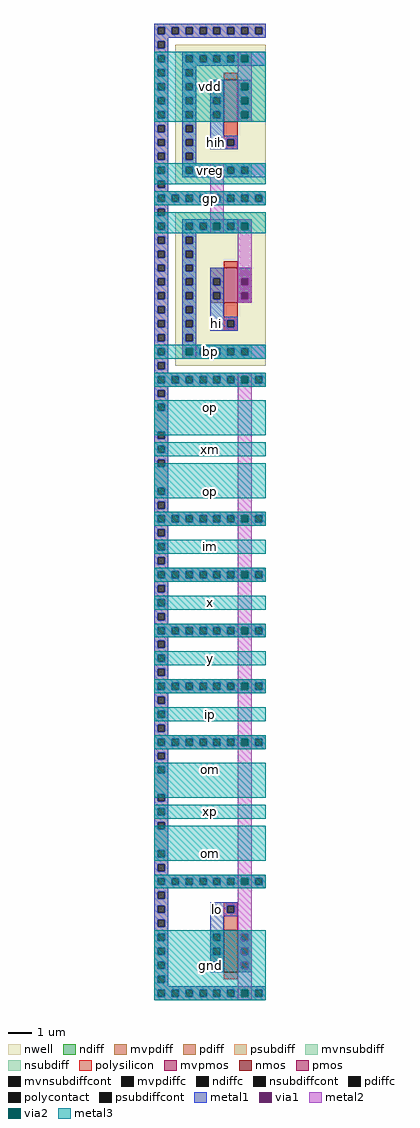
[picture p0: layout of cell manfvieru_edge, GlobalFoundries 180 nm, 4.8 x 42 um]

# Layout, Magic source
magic
tech gf180mcuC
<< nwell >>
rect -738 570 -660 690
rect -738 414 -660 546
<< nmos >>
rect -696 -108 -684 -72
<< pmos >>
rect -696 468 -684 498
<< mvpmos >>
rect -696 624 -684 660
<< ndiff >>
rect -708 -75 -696 -72
rect -708 -81 -705 -75
rect -699 -81 -696 -75
rect -708 -87 -696 -81
rect -708 -93 -705 -87
rect -699 -93 -696 -87
rect -708 -99 -696 -93
rect -708 -105 -705 -99
rect -699 -105 -696 -99
rect -708 -108 -696 -105
rect -684 -75 -672 -72
rect -684 -81 -681 -75
rect -675 -81 -672 -75
rect -684 -87 -672 -81
rect -684 -93 -681 -87
rect -675 -93 -672 -87
rect -684 -99 -672 -93
rect -684 -105 -681 -99
rect -675 -105 -672 -99
rect -684 -108 -672 -105
<< pdiff >>
rect -708 489 -696 498
rect -708 483 -705 489
rect -699 483 -696 489
rect -708 477 -696 483
rect -708 471 -705 477
rect -699 471 -696 477
rect -708 468 -696 471
rect -684 489 -672 498
rect -684 483 -681 489
rect -675 483 -672 489
rect -684 477 -672 483
rect -684 471 -681 477
rect -675 471 -672 477
rect -684 468 -672 471
<< mvpdiff >>
rect -708 657 -696 660
rect -708 651 -705 657
rect -699 651 -696 657
rect -708 645 -696 651
rect -708 639 -705 645
rect -699 639 -696 645
rect -708 633 -696 639
rect -708 627 -705 633
rect -699 627 -696 633
rect -708 624 -696 627
rect -684 657 -672 660
rect -684 651 -681 657
rect -675 651 -672 657
rect -684 645 -672 651
rect -684 639 -681 645
rect -675 639 -672 645
rect -684 633 -672 639
rect -684 627 -681 633
rect -675 627 -672 633
rect -684 624 -672 627
<< ndiffc >>
rect -705 -81 -699 -75
rect -705 -93 -699 -87
rect -705 -105 -699 -99
rect -681 -81 -675 -75
rect -681 -93 -675 -87
rect -681 -105 -675 -99
<< pdiffc >>
rect -705 483 -699 489
rect -705 471 -699 477
rect -681 483 -675 489
rect -681 471 -675 477
<< mvpdiffc >>
rect -705 651 -699 657
rect -705 639 -699 645
rect -705 627 -699 633
rect -681 651 -675 657
rect -681 639 -675 645
rect -681 627 -675 633
<< psubdiff >>
rect -756 705 -660 708
rect -756 699 -753 705
rect -747 699 -741 705
rect -735 699 -729 705
rect -723 699 -717 705
rect -711 699 -705 705
rect -699 699 -693 705
rect -687 699 -681 705
rect -675 699 -669 705
rect -663 699 -660 705
rect -756 696 -660 699
rect -756 693 -744 696
rect -756 687 -753 693
rect -747 687 -744 693
rect -756 681 -744 687
rect -756 675 -753 681
rect -747 675 -744 681
rect -756 669 -744 675
rect -756 663 -753 669
rect -747 663 -744 669
rect -756 657 -744 663
rect -756 651 -753 657
rect -747 651 -744 657
rect -756 645 -744 651
rect -756 639 -753 645
rect -747 639 -744 645
rect -756 633 -744 639
rect -756 627 -753 633
rect -747 627 -744 633
rect -756 621 -744 627
rect -756 615 -753 621
rect -747 615 -744 621
rect -756 609 -744 615
rect -756 603 -753 609
rect -747 603 -744 609
rect -756 597 -744 603
rect -756 591 -753 597
rect -747 591 -744 597
rect -756 585 -744 591
rect -756 579 -753 585
rect -747 579 -744 585
rect -756 573 -744 579
rect -756 567 -753 573
rect -747 567 -744 573
rect -756 564 -744 567
rect -756 561 -660 564
rect -756 555 -753 561
rect -747 555 -741 561
rect -735 555 -729 561
rect -723 555 -717 561
rect -711 555 -705 561
rect -699 555 -693 561
rect -687 555 -681 561
rect -675 555 -669 561
rect -663 555 -660 561
rect -756 552 -660 555
rect -756 549 -744 552
rect -756 543 -753 549
rect -747 543 -744 549
rect -756 537 -744 543
rect -756 531 -753 537
rect -747 531 -744 537
rect -756 525 -744 531
rect -756 519 -753 525
rect -747 519 -744 525
rect -756 513 -744 519
rect -756 507 -753 513
rect -747 507 -744 513
rect -756 501 -744 507
rect -756 495 -753 501
rect -747 495 -744 501
rect -756 489 -744 495
rect -756 483 -753 489
rect -747 483 -744 489
rect -756 477 -744 483
rect -756 471 -753 477
rect -747 471 -744 477
rect -756 465 -744 471
rect -756 459 -753 465
rect -747 459 -744 465
rect -756 453 -744 459
rect -756 447 -753 453
rect -747 447 -744 453
rect -756 441 -744 447
rect -756 435 -753 441
rect -747 435 -744 441
rect -756 429 -744 435
rect -756 423 -753 429
rect -747 423 -744 429
rect -756 417 -744 423
rect -756 411 -753 417
rect -747 411 -744 417
rect -756 408 -744 411
rect -756 405 -660 408
rect -756 399 -753 405
rect -747 399 -741 405
rect -735 399 -729 405
rect -723 399 -717 405
rect -711 399 -705 405
rect -699 399 -693 405
rect -687 399 -681 405
rect -675 399 -669 405
rect -663 399 -660 405
rect -756 396 -660 399
rect -756 393 -744 396
rect -756 387 -753 393
rect -747 387 -744 393
rect -756 381 -744 387
rect -756 375 -753 381
rect -747 375 -744 381
rect -756 357 -744 375
rect -756 351 -753 357
rect -747 351 -744 357
rect -756 345 -744 351
rect -756 339 -753 345
rect -747 339 -744 345
rect -756 333 -744 339
rect -756 327 -753 333
rect -747 327 -744 333
rect -756 309 -744 327
rect -756 303 -753 309
rect -747 303 -744 309
rect -756 297 -744 303
rect -756 291 -753 297
rect -747 291 -744 297
rect -756 288 -744 291
rect -756 285 -660 288
rect -756 279 -753 285
rect -747 279 -741 285
rect -735 279 -729 285
rect -723 279 -717 285
rect -711 279 -705 285
rect -699 279 -693 285
rect -687 279 -681 285
rect -675 279 -669 285
rect -663 279 -660 285
rect -756 276 -660 279
rect -756 273 -744 276
rect -756 267 -753 273
rect -747 267 -744 273
rect -756 261 -744 267
rect -756 255 -753 261
rect -747 255 -744 261
rect -756 249 -744 255
rect -756 243 -753 249
rect -747 243 -744 249
rect -756 240 -744 243
rect -756 237 -660 240
rect -756 231 -753 237
rect -747 231 -741 237
rect -735 231 -729 237
rect -723 231 -717 237
rect -711 231 -705 237
rect -699 231 -693 237
rect -687 231 -681 237
rect -675 231 -669 237
rect -663 231 -660 237
rect -756 228 -660 231
rect -756 225 -744 228
rect -756 219 -753 225
rect -747 219 -744 225
rect -756 213 -744 219
rect -756 207 -753 213
rect -747 207 -744 213
rect -756 201 -744 207
rect -756 195 -753 201
rect -747 195 -744 201
rect -756 192 -744 195
rect -756 189 -660 192
rect -756 183 -753 189
rect -747 183 -741 189
rect -735 183 -729 189
rect -723 183 -717 189
rect -711 183 -705 189
rect -699 183 -693 189
rect -687 183 -681 189
rect -675 183 -669 189
rect -663 183 -660 189
rect -756 180 -660 183
rect -756 177 -744 180
rect -756 171 -753 177
rect -747 171 -744 177
rect -756 165 -744 171
rect -756 159 -753 165
rect -747 159 -744 165
rect -756 153 -744 159
rect -756 147 -753 153
rect -747 147 -744 153
rect -756 144 -744 147
rect -756 141 -660 144
rect -756 135 -753 141
rect -747 135 -741 141
rect -735 135 -729 141
rect -723 135 -717 141
rect -711 135 -705 141
rect -699 135 -693 141
rect -687 135 -681 141
rect -675 135 -669 141
rect -663 135 -660 141
rect -756 132 -660 135
rect -756 129 -744 132
rect -756 123 -753 129
rect -747 123 -744 129
rect -756 117 -744 123
rect -756 111 -753 117
rect -747 111 -744 117
rect -756 105 -744 111
rect -756 99 -753 105
rect -747 99 -744 105
rect -756 96 -744 99
rect -756 93 -660 96
rect -756 87 -753 93
rect -747 87 -741 93
rect -735 87 -729 93
rect -723 87 -717 93
rect -711 87 -705 93
rect -699 87 -693 93
rect -687 87 -681 93
rect -675 87 -669 93
rect -663 87 -660 93
rect -756 84 -660 87
rect -756 81 -744 84
rect -756 75 -753 81
rect -747 75 -744 81
rect -756 69 -744 75
rect -756 63 -753 69
rect -747 63 -744 69
rect -756 45 -744 63
rect -756 39 -753 45
rect -747 39 -744 45
rect -756 33 -744 39
rect -756 27 -753 33
rect -747 27 -744 33
rect -756 21 -744 27
rect -756 15 -753 21
rect -747 15 -744 21
rect -756 -3 -744 15
rect -756 -9 -753 -3
rect -747 -9 -744 -3
rect -756 -15 -744 -9
rect -756 -21 -753 -15
rect -747 -21 -744 -15
rect -756 -24 -744 -21
rect -756 -27 -660 -24
rect -756 -33 -753 -27
rect -747 -33 -741 -27
rect -735 -33 -729 -27
rect -723 -33 -717 -27
rect -711 -33 -705 -27
rect -699 -33 -693 -27
rect -687 -33 -681 -27
rect -675 -33 -669 -27
rect -663 -33 -660 -27
rect -756 -36 -660 -33
rect -756 -39 -744 -36
rect -756 -45 -753 -39
rect -747 -45 -744 -39
rect -756 -51 -744 -45
rect -756 -57 -753 -51
rect -747 -57 -744 -51
rect -756 -63 -744 -57
rect -756 -69 -753 -63
rect -747 -69 -744 -63
rect -756 -75 -744 -69
rect -756 -81 -753 -75
rect -747 -81 -744 -75
rect -756 -87 -744 -81
rect -756 -93 -753 -87
rect -747 -93 -744 -87
rect -756 -99 -744 -93
rect -756 -105 -753 -99
rect -747 -105 -744 -99
rect -756 -111 -744 -105
rect -756 -117 -753 -111
rect -747 -117 -744 -111
rect -756 -120 -744 -117
rect -756 -123 -660 -120
rect -756 -129 -753 -123
rect -747 -129 -741 -123
rect -735 -129 -729 -123
rect -723 -129 -717 -123
rect -711 -129 -705 -123
rect -699 -129 -693 -123
rect -687 -129 -681 -123
rect -675 -129 -669 -123
rect -663 -129 -660 -123
rect -756 -132 -660 -129
<< nsubdiff >>
rect -732 537 -672 540
rect -732 531 -729 537
rect -723 531 -717 537
rect -711 531 -705 537
rect -699 531 -693 537
rect -687 531 -681 537
rect -675 531 -672 537
rect -732 528 -672 531
rect -732 525 -720 528
rect -732 519 -729 525
rect -723 519 -720 525
rect -732 513 -720 519
rect -732 507 -729 513
rect -723 507 -720 513
rect -732 501 -720 507
rect -732 495 -729 501
rect -723 495 -720 501
rect -732 489 -720 495
rect -732 483 -729 489
rect -723 483 -720 489
rect -732 477 -720 483
rect -732 471 -729 477
rect -723 471 -720 477
rect -732 465 -720 471
rect -732 459 -729 465
rect -723 459 -720 465
rect -732 453 -720 459
rect -732 447 -729 453
rect -723 447 -720 453
rect -732 441 -720 447
rect -732 435 -729 441
rect -723 435 -720 441
rect -732 432 -720 435
rect -732 429 -672 432
rect -732 423 -729 429
rect -723 423 -717 429
rect -711 423 -705 429
rect -699 423 -693 429
rect -687 423 -681 429
rect -675 423 -672 429
rect -732 420 -672 423
<< mvnsubdiff >>
rect -732 681 -672 684
rect -732 675 -729 681
rect -723 675 -717 681
rect -711 675 -705 681
rect -699 675 -693 681
rect -687 675 -681 681
rect -675 675 -672 681
rect -732 672 -672 675
rect -732 669 -720 672
rect -732 663 -729 669
rect -723 663 -720 669
rect -732 657 -720 663
rect -732 651 -729 657
rect -723 651 -720 657
rect -732 645 -720 651
rect -732 639 -729 645
rect -723 639 -720 645
rect -732 633 -720 639
rect -732 627 -729 633
rect -723 627 -720 633
rect -732 621 -720 627
rect -732 615 -729 621
rect -723 615 -720 621
rect -732 609 -720 615
rect -732 603 -729 609
rect -723 603 -720 609
rect -732 597 -720 603
rect -732 591 -729 597
rect -723 591 -720 597
rect -732 588 -720 591
rect -732 585 -672 588
rect -732 579 -729 585
rect -723 579 -717 585
rect -711 579 -705 585
rect -699 579 -693 585
rect -687 579 -681 585
rect -675 579 -672 585
rect -732 576 -672 579
<< psubdiffcont >>
rect -753 699 -747 705
rect -741 699 -735 705
rect -729 699 -723 705
rect -717 699 -711 705
rect -705 699 -699 705
rect -693 699 -687 705
rect -681 699 -675 705
rect -669 699 -663 705
rect -753 687 -747 693
rect -753 675 -747 681
rect -753 663 -747 669
rect -753 651 -747 657
rect -753 639 -747 645
rect -753 627 -747 633
rect -753 615 -747 621
rect -753 603 -747 609
rect -753 591 -747 597
rect -753 579 -747 585
rect -753 567 -747 573
rect -753 555 -747 561
rect -741 555 -735 561
rect -729 555 -723 561
rect -717 555 -711 561
rect -705 555 -699 561
rect -693 555 -687 561
rect -681 555 -675 561
rect -669 555 -663 561
rect -753 543 -747 549
rect -753 531 -747 537
rect -753 519 -747 525
rect -753 507 -747 513
rect -753 495 -747 501
rect -753 483 -747 489
rect -753 471 -747 477
rect -753 459 -747 465
rect -753 447 -747 453
rect -753 435 -747 441
rect -753 423 -747 429
rect -753 411 -747 417
rect -753 399 -747 405
rect -741 399 -735 405
rect -729 399 -723 405
rect -717 399 -711 405
rect -705 399 -699 405
rect -693 399 -687 405
rect -681 399 -675 405
rect -669 399 -663 405
rect -753 387 -747 393
rect -753 375 -747 381
rect -753 351 -747 357
rect -753 339 -747 345
rect -753 327 -747 333
rect -753 303 -747 309
rect -753 291 -747 297
rect -753 279 -747 285
rect -741 279 -735 285
rect -729 279 -723 285
rect -717 279 -711 285
rect -705 279 -699 285
rect -693 279 -687 285
rect -681 279 -675 285
rect -669 279 -663 285
rect -753 267 -747 273
rect -753 255 -747 261
rect -753 243 -747 249
rect -753 231 -747 237
rect -741 231 -735 237
rect -729 231 -723 237
rect -717 231 -711 237
rect -705 231 -699 237
rect -693 231 -687 237
rect -681 231 -675 237
rect -669 231 -663 237
rect -753 219 -747 225
rect -753 207 -747 213
rect -753 195 -747 201
rect -753 183 -747 189
rect -741 183 -735 189
rect -729 183 -723 189
rect -717 183 -711 189
rect -705 183 -699 189
rect -693 183 -687 189
rect -681 183 -675 189
rect -669 183 -663 189
rect -753 171 -747 177
rect -753 159 -747 165
rect -753 147 -747 153
rect -753 135 -747 141
rect -741 135 -735 141
rect -729 135 -723 141
rect -717 135 -711 141
rect -705 135 -699 141
rect -693 135 -687 141
rect -681 135 -675 141
rect -669 135 -663 141
rect -753 123 -747 129
rect -753 111 -747 117
rect -753 99 -747 105
rect -753 87 -747 93
rect -741 87 -735 93
rect -729 87 -723 93
rect -717 87 -711 93
rect -705 87 -699 93
rect -693 87 -687 93
rect -681 87 -675 93
rect -669 87 -663 93
rect -753 75 -747 81
rect -753 63 -747 69
rect -753 39 -747 45
rect -753 27 -747 33
rect -753 15 -747 21
rect -753 -9 -747 -3
rect -753 -21 -747 -15
rect -753 -33 -747 -27
rect -741 -33 -735 -27
rect -729 -33 -723 -27
rect -717 -33 -711 -27
rect -705 -33 -699 -27
rect -693 -33 -687 -27
rect -681 -33 -675 -27
rect -669 -33 -663 -27
rect -753 -45 -747 -39
rect -753 -57 -747 -51
rect -753 -69 -747 -63
rect -753 -81 -747 -75
rect -753 -93 -747 -87
rect -753 -105 -747 -99
rect -753 -117 -747 -111
rect -753 -129 -747 -123
rect -741 -129 -735 -123
rect -729 -129 -723 -123
rect -717 -129 -711 -123
rect -705 -129 -699 -123
rect -693 -129 -687 -123
rect -681 -129 -675 -123
rect -669 -129 -663 -123
<< nsubdiffcont >>
rect -729 531 -723 537
rect -717 531 -711 537
rect -705 531 -699 537
rect -693 531 -687 537
rect -681 531 -675 537
rect -729 519 -723 525
rect -729 507 -723 513
rect -729 495 -723 501
rect -729 483 -723 489
rect -729 471 -723 477
rect -729 459 -723 465
rect -729 447 -723 453
rect -729 435 -723 441
rect -729 423 -723 429
rect -717 423 -711 429
rect -705 423 -699 429
rect -693 423 -687 429
rect -681 423 -675 429
<< mvnsubdiffcont >>
rect -729 675 -723 681
rect -717 675 -711 681
rect -705 675 -699 681
rect -693 675 -687 681
rect -681 675 -675 681
rect -729 663 -723 669
rect -729 651 -723 657
rect -729 639 -723 645
rect -729 627 -723 633
rect -729 615 -723 621
rect -729 603 -723 609
rect -729 591 -723 597
rect -729 579 -723 585
rect -717 579 -711 585
rect -705 579 -699 585
rect -693 579 -687 585
rect -681 579 -675 585
<< polysilicon >>
rect -696 660 -684 666
rect -696 609 -684 624
rect -696 603 -693 609
rect -687 603 -684 609
rect -696 600 -684 603
rect -696 498 -684 504
rect -696 453 -684 468
rect -696 447 -693 453
rect -687 447 -684 453
rect -696 444 -684 447
rect -696 -51 -684 -48
rect -696 -57 -693 -51
rect -687 -57 -684 -51
rect -696 -72 -684 -57
rect -696 -114 -684 -108
<< polycontact >>
rect -693 603 -687 609
rect -693 447 -687 453
rect -693 -57 -687 -51
<< metal1 >>
rect -756 705 -660 708
rect -756 699 -753 705
rect -747 699 -741 705
rect -735 699 -729 705
rect -723 699 -717 705
rect -711 699 -705 705
rect -699 699 -693 705
rect -687 699 -681 705
rect -675 699 -669 705
rect -663 699 -660 705
rect -756 696 -660 699
rect -756 693 -744 696
rect -756 687 -753 693
rect -747 687 -744 693
rect -756 681 -744 687
rect -756 675 -753 681
rect -747 675 -744 681
rect -756 669 -744 675
rect -756 663 -753 669
rect -747 663 -744 669
rect -756 657 -744 663
rect -756 651 -753 657
rect -747 651 -744 657
rect -756 645 -744 651
rect -756 639 -753 645
rect -747 639 -744 645
rect -756 633 -744 639
rect -756 627 -753 633
rect -747 627 -744 633
rect -756 621 -744 627
rect -756 615 -753 621
rect -747 615 -744 621
rect -756 609 -744 615
rect -756 603 -753 609
rect -747 603 -744 609
rect -756 597 -744 603
rect -756 591 -753 597
rect -747 591 -744 597
rect -756 585 -744 591
rect -756 579 -753 585
rect -747 579 -744 585
rect -756 573 -744 579
rect -732 681 -660 684
rect -732 675 -729 681
rect -723 675 -717 681
rect -711 675 -705 681
rect -699 675 -693 681
rect -687 675 -681 681
rect -675 675 -660 681
rect -732 672 -660 675
rect -732 669 -720 672
rect -732 663 -729 669
rect -723 663 -720 669
rect -732 657 -720 663
rect -732 651 -729 657
rect -723 651 -720 657
rect -732 645 -720 651
rect -732 639 -729 645
rect -723 639 -720 645
rect -732 633 -720 639
rect -732 627 -729 633
rect -723 627 -720 633
rect -732 621 -720 627
rect -732 615 -729 621
rect -723 615 -720 621
rect -732 609 -720 615
rect -732 603 -729 609
rect -723 603 -720 609
rect -732 597 -720 603
rect -708 657 -696 660
rect -708 651 -705 657
rect -699 651 -696 657
rect -708 645 -696 651
rect -708 639 -705 645
rect -699 639 -696 645
rect -708 633 -696 639
rect -708 627 -705 633
rect -699 627 -696 633
rect -708 612 -696 627
rect -684 657 -672 660
rect -684 651 -681 657
rect -675 651 -672 657
rect -684 645 -672 651
rect -684 639 -681 645
rect -675 639 -672 645
rect -684 633 -672 639
rect -684 627 -681 633
rect -675 627 -672 633
rect -684 624 -672 627
rect -708 609 -684 612
rect -708 603 -693 609
rect -687 603 -684 609
rect -708 600 -684 603
rect -732 591 -729 597
rect -723 591 -720 597
rect -732 588 -720 591
rect -732 585 -660 588
rect -732 579 -729 585
rect -723 579 -717 585
rect -711 579 -705 585
rect -699 579 -693 585
rect -687 579 -681 585
rect -675 579 -660 585
rect -732 576 -660 579
rect -756 567 -753 573
rect -747 567 -744 573
rect -756 564 -744 567
rect -756 561 -660 564
rect -756 555 -753 561
rect -747 555 -741 561
rect -735 555 -729 561
rect -723 555 -717 561
rect -711 555 -705 561
rect -699 555 -693 561
rect -687 555 -681 561
rect -675 555 -669 561
rect -663 555 -660 561
rect -756 552 -660 555
rect -756 549 -744 552
rect -756 543 -753 549
rect -747 543 -744 549
rect -756 537 -744 543
rect -756 531 -753 537
rect -747 531 -744 537
rect -756 525 -744 531
rect -756 519 -753 525
rect -747 519 -744 525
rect -756 513 -744 519
rect -756 507 -753 513
rect -747 507 -744 513
rect -756 501 -744 507
rect -756 495 -753 501
rect -747 495 -744 501
rect -756 489 -744 495
rect -756 483 -753 489
rect -747 483 -744 489
rect -756 477 -744 483
rect -756 471 -753 477
rect -747 471 -744 477
rect -756 465 -744 471
rect -756 459 -753 465
rect -747 459 -744 465
rect -756 453 -744 459
rect -756 447 -753 453
rect -747 447 -744 453
rect -756 441 -744 447
rect -756 435 -753 441
rect -747 435 -744 441
rect -756 429 -744 435
rect -756 423 -753 429
rect -747 423 -744 429
rect -756 417 -744 423
rect -732 537 -672 540
rect -732 531 -729 537
rect -723 531 -717 537
rect -711 531 -705 537
rect -699 531 -693 537
rect -687 531 -681 537
rect -675 531 -672 537
rect -732 528 -672 531
rect -732 525 -720 528
rect -732 519 -729 525
rect -723 519 -720 525
rect -732 513 -720 519
rect -732 507 -729 513
rect -723 507 -720 513
rect -732 501 -720 507
rect -732 495 -729 501
rect -723 495 -720 501
rect -732 489 -720 495
rect -732 483 -729 489
rect -723 483 -720 489
rect -732 477 -720 483
rect -732 471 -729 477
rect -723 471 -720 477
rect -732 465 -720 471
rect -732 459 -729 465
rect -723 459 -720 465
rect -732 453 -720 459
rect -732 447 -729 453
rect -723 447 -720 453
rect -732 441 -720 447
rect -708 489 -696 498
rect -708 483 -705 489
rect -699 483 -696 489
rect -708 477 -696 483
rect -708 471 -705 477
rect -699 471 -696 477
rect -708 456 -696 471
rect -684 489 -672 498
rect -684 483 -681 489
rect -675 483 -672 489
rect -684 477 -672 483
rect -684 471 -681 477
rect -675 471 -672 477
rect -684 468 -672 471
rect -708 453 -684 456
rect -708 447 -693 453
rect -687 447 -684 453
rect -708 444 -684 447
rect -732 435 -729 441
rect -723 435 -720 441
rect -732 432 -720 435
rect -732 429 -660 432
rect -732 423 -729 429
rect -723 423 -717 429
rect -711 423 -705 429
rect -699 423 -693 429
rect -687 423 -681 429
rect -675 423 -660 429
rect -732 420 -660 423
rect -756 411 -753 417
rect -747 411 -744 417
rect -756 408 -744 411
rect -756 405 -660 408
rect -756 399 -753 405
rect -747 399 -741 405
rect -735 399 -729 405
rect -723 399 -717 405
rect -711 399 -705 405
rect -699 399 -693 405
rect -687 399 -681 405
rect -675 399 -669 405
rect -663 399 -660 405
rect -756 396 -660 399
rect -756 393 -744 396
rect -756 387 -753 393
rect -747 387 -744 393
rect -756 381 -744 387
rect -756 375 -753 381
rect -747 375 -744 381
rect -756 357 -744 375
rect -756 351 -753 357
rect -747 351 -744 357
rect -756 345 -744 351
rect -756 339 -753 345
rect -747 339 -744 345
rect -756 333 -744 339
rect -756 327 -753 333
rect -747 327 -744 333
rect -756 309 -744 327
rect -756 303 -753 309
rect -747 303 -744 309
rect -756 297 -744 303
rect -756 291 -753 297
rect -747 291 -744 297
rect -756 288 -744 291
rect -756 285 -660 288
rect -756 279 -753 285
rect -747 279 -741 285
rect -735 279 -729 285
rect -723 279 -717 285
rect -711 279 -705 285
rect -699 279 -693 285
rect -687 279 -681 285
rect -675 279 -669 285
rect -663 279 -660 285
rect -756 276 -660 279
rect -756 273 -744 276
rect -756 267 -753 273
rect -747 267 -744 273
rect -756 261 -744 267
rect -756 255 -753 261
rect -747 255 -744 261
rect -756 249 -744 255
rect -756 243 -753 249
rect -747 243 -744 249
rect -756 240 -744 243
rect -756 237 -660 240
rect -756 231 -753 237
rect -747 231 -741 237
rect -735 231 -729 237
rect -723 231 -717 237
rect -711 231 -705 237
rect -699 231 -693 237
rect -687 231 -681 237
rect -675 231 -669 237
rect -663 231 -660 237
rect -756 228 -660 231
rect -756 225 -744 228
rect -756 219 -753 225
rect -747 219 -744 225
rect -756 213 -744 219
rect -756 207 -753 213
rect -747 207 -744 213
rect -756 201 -744 207
rect -756 195 -753 201
rect -747 195 -744 201
rect -756 192 -744 195
rect -756 189 -660 192
rect -756 183 -753 189
rect -747 183 -741 189
rect -735 183 -729 189
rect -723 183 -717 189
rect -711 183 -705 189
rect -699 183 -693 189
rect -687 183 -681 189
rect -675 183 -669 189
rect -663 183 -660 189
rect -756 180 -660 183
rect -756 177 -744 180
rect -756 171 -753 177
rect -747 171 -744 177
rect -756 165 -744 171
rect -756 159 -753 165
rect -747 159 -744 165
rect -756 153 -744 159
rect -756 147 -753 153
rect -747 147 -744 153
rect -756 144 -744 147
rect -756 141 -660 144
rect -756 135 -753 141
rect -747 135 -741 141
rect -735 135 -729 141
rect -723 135 -717 141
rect -711 135 -705 141
rect -699 135 -693 141
rect -687 135 -681 141
rect -675 135 -669 141
rect -663 135 -660 141
rect -756 132 -660 135
rect -756 129 -744 132
rect -756 123 -753 129
rect -747 123 -744 129
rect -756 117 -744 123
rect -756 111 -753 117
rect -747 111 -744 117
rect -756 105 -744 111
rect -756 99 -753 105
rect -747 99 -744 105
rect -756 96 -744 99
rect -756 93 -660 96
rect -756 87 -753 93
rect -747 87 -741 93
rect -735 87 -729 93
rect -723 87 -717 93
rect -711 87 -705 93
rect -699 87 -693 93
rect -687 87 -681 93
rect -675 87 -669 93
rect -663 87 -660 93
rect -756 84 -660 87
rect -756 81 -744 84
rect -756 75 -753 81
rect -747 75 -744 81
rect -756 69 -744 75
rect -756 63 -753 69
rect -747 63 -744 69
rect -756 45 -744 63
rect -756 39 -753 45
rect -747 39 -744 45
rect -756 33 -744 39
rect -756 27 -753 33
rect -747 27 -744 33
rect -756 21 -744 27
rect -756 15 -753 21
rect -747 15 -744 21
rect -756 -3 -744 15
rect -756 -9 -753 -3
rect -747 -9 -744 -3
rect -756 -15 -744 -9
rect -756 -21 -753 -15
rect -747 -21 -744 -15
rect -756 -24 -744 -21
rect -756 -27 -660 -24
rect -756 -33 -753 -27
rect -747 -33 -741 -27
rect -735 -33 -729 -27
rect -723 -33 -717 -27
rect -711 -33 -705 -27
rect -699 -33 -693 -27
rect -687 -33 -681 -27
rect -675 -33 -669 -27
rect -663 -33 -660 -27
rect -756 -36 -660 -33
rect -756 -39 -744 -36
rect -756 -45 -753 -39
rect -747 -45 -744 -39
rect -756 -51 -744 -45
rect -756 -57 -753 -51
rect -747 -57 -744 -51
rect -756 -63 -744 -57
rect -756 -69 -753 -63
rect -747 -69 -744 -63
rect -756 -75 -744 -69
rect -756 -81 -753 -75
rect -747 -81 -744 -75
rect -756 -87 -744 -81
rect -756 -93 -753 -87
rect -747 -93 -744 -87
rect -756 -99 -744 -93
rect -756 -105 -753 -99
rect -747 -105 -744 -99
rect -756 -111 -744 -105
rect -708 -51 -684 -48
rect -708 -57 -693 -51
rect -687 -57 -684 -51
rect -708 -60 -684 -57
rect -708 -75 -696 -60
rect -708 -81 -705 -75
rect -699 -81 -696 -75
rect -708 -87 -696 -81
rect -708 -93 -705 -87
rect -699 -93 -696 -87
rect -708 -99 -696 -93
rect -708 -105 -705 -99
rect -699 -105 -696 -99
rect -708 -108 -696 -105
rect -684 -75 -672 -72
rect -684 -81 -681 -75
rect -675 -81 -672 -75
rect -684 -87 -672 -81
rect -684 -93 -681 -87
rect -675 -93 -672 -87
rect -684 -99 -672 -93
rect -684 -105 -681 -99
rect -675 -105 -672 -99
rect -684 -108 -672 -105
rect -756 -117 -753 -111
rect -747 -117 -744 -111
rect -756 -120 -744 -117
rect -756 -123 -660 -120
rect -756 -129 -753 -123
rect -747 -129 -741 -123
rect -735 -129 -729 -123
rect -723 -129 -717 -123
rect -711 -129 -705 -123
rect -699 -129 -693 -123
rect -687 -129 -681 -123
rect -675 -129 -669 -123
rect -663 -129 -660 -123
rect -756 -132 -660 -129
<< via1 >>
rect -681 675 -675 681
rect -681 651 -675 657
rect -681 639 -675 645
rect -681 627 -675 633
rect -681 483 -675 489
rect -681 471 -675 477
rect -729 423 -723 429
rect -681 399 -675 405
rect -681 279 -675 285
rect -681 231 -675 237
rect -681 183 -675 189
rect -681 135 -675 141
rect -681 87 -675 93
rect -681 -33 -675 -27
rect -681 -81 -675 -75
rect -681 -93 -675 -87
rect -681 -105 -675 -99
rect -681 -129 -675 -123
<< metal2 >>
rect -684 681 -672 684
rect -684 675 -681 681
rect -675 675 -672 681
rect -684 657 -672 675
rect -684 651 -681 657
rect -675 651 -672 657
rect -684 645 -672 651
rect -684 639 -681 645
rect -675 639 -672 645
rect -684 633 -672 639
rect -684 627 -681 633
rect -675 627 -672 633
rect -684 624 -672 627
rect -708 585 -696 588
rect -708 579 -705 585
rect -699 579 -696 585
rect -708 537 -696 579
rect -708 531 -705 537
rect -699 531 -696 537
rect -708 528 -696 531
rect -684 537 -672 540
rect -684 531 -681 537
rect -675 531 -672 537
rect -684 489 -672 531
rect -684 483 -681 489
rect -675 483 -672 489
rect -684 477 -672 483
rect -684 471 -681 477
rect -675 471 -672 477
rect -684 468 -672 471
rect -732 429 -720 432
rect -732 423 -729 429
rect -723 423 -720 429
rect -732 420 -720 423
rect -684 405 -672 408
rect -684 399 -681 405
rect -675 399 -672 405
rect -684 285 -672 399
rect -684 279 -681 285
rect -675 279 -672 285
rect -684 237 -672 279
rect -684 231 -681 237
rect -675 231 -672 237
rect -684 189 -672 231
rect -684 183 -681 189
rect -675 183 -672 189
rect -684 141 -672 183
rect -684 135 -681 141
rect -675 135 -672 141
rect -684 93 -672 135
rect -684 87 -681 93
rect -675 87 -672 93
rect -684 -27 -672 87
rect -684 -33 -681 -27
rect -675 -33 -672 -27
rect -684 -75 -672 -33
rect -684 -81 -681 -75
rect -675 -81 -672 -75
rect -684 -87 -672 -81
rect -684 -93 -681 -87
rect -675 -93 -672 -87
rect -684 -99 -672 -93
rect -684 -105 -681 -99
rect -675 -105 -672 -99
rect -684 -123 -672 -105
rect -684 -129 -681 -123
rect -675 -129 -672 -123
rect -684 -132 -672 -129
<< via2 >>
rect -681 675 -675 681
rect -681 651 -675 657
rect -681 639 -675 645
rect -681 627 -675 633
rect -705 579 -699 585
rect -705 531 -699 537
rect -681 531 -675 537
rect -729 423 -723 429
rect -681 399 -675 405
rect -681 279 -675 285
rect -681 231 -675 237
rect -681 183 -675 189
rect -681 135 -675 141
rect -681 87 -675 93
rect -681 -33 -675 -27
rect -681 -129 -675 -123
<< metal3 >>
rect -756 681 -660 684
rect -756 675 -681 681
rect -675 675 -660 681
rect -756 657 -660 675
rect -756 651 -681 657
rect -675 651 -660 657
rect -756 645 -660 651
rect -756 639 -681 645
rect -675 639 -660 645
rect -756 633 -660 639
rect -756 627 -681 633
rect -675 627 -660 633
rect -756 624 -660 627
rect -756 585 -660 588
rect -756 579 -705 585
rect -699 579 -660 585
rect -756 570 -660 579
rect -756 552 -660 564
rect -756 537 -660 546
rect -756 531 -705 537
rect -699 531 -681 537
rect -675 531 -660 537
rect -756 528 -660 531
rect -756 429 -660 432
rect -756 423 -729 429
rect -723 423 -660 429
rect -756 420 -660 423
rect -756 405 -660 408
rect -756 399 -681 405
rect -675 399 -660 405
rect -756 396 -660 399
rect -756 354 -660 384
rect -756 336 -660 348
rect -756 300 -660 330
rect -756 285 -660 288
rect -756 279 -681 285
rect -675 279 -660 285
rect -756 276 -660 279
rect -756 252 -660 264
rect -756 237 -660 240
rect -756 231 -681 237
rect -675 231 -660 237
rect -756 228 -660 231
rect -756 204 -660 216
rect -756 189 -660 192
rect -756 183 -681 189
rect -675 183 -660 189
rect -756 180 -660 183
rect -756 156 -660 168
rect -756 141 -660 144
rect -756 135 -681 141
rect -675 135 -660 141
rect -756 132 -660 135
rect -756 108 -660 120
rect -756 93 -660 96
rect -756 87 -681 93
rect -675 87 -660 93
rect -756 84 -660 87
rect -756 42 -660 72
rect -756 24 -660 36
rect -756 -12 -660 18
rect -756 -27 -660 -24
rect -756 -33 -681 -27
rect -675 -33 -660 -27
rect -756 -36 -660 -33
rect -756 -123 -660 -72
rect -756 -129 -681 -123
rect -675 -129 -660 -123
rect -756 -132 -660 -129
<< labels >>
rlabel metal3 -756 -132 -660 -72 0 gnd
port 9 nsew
rlabel metal1 -708 -60 -696 -48 0 lo
rlabel metal3 -756 -12 -660 0 0 om
port 13 nsew
rlabel metal3 -756 24 -660 36 0 xp
port 12 nsew
rlabel metal3 -756 108 -660 120 0 ip
port 7 nsew
rlabel metal3 -756 60 -660 72 0 om
port 13 nsew
rlabel metal3 -756 252 -660 264 0 im
port 6 nsew
rlabel metal3 -756 336 -660 348 0 xm
port 10 nsew
rlabel metal3 -756 372 -660 384 0 op
port 11 nsew
rlabel metal1 -708 444 -696 456 0 hi
rlabel metal1 -708 600 -696 612 1 hih
rlabel metal3 -756 576 -660 588 0 vreg
port 4 nsew
rlabel metal3 -756 420 -660 432 0 bp
port 3 nsew
rlabel metal3 -756 552 -660 564 0 gp
port 2 nsew
rlabel metal3 -756 624 -660 684 0 vdd
port 1 nsew
rlabel metal3 -756 300 -660 312 0 op
port 11 nsew
rlabel metal3 -756 204 -660 216 0 x
port 14 nsew
rlabel metal3 -756 156 -660 168 0 y
port 15 nsew
<< end >>
